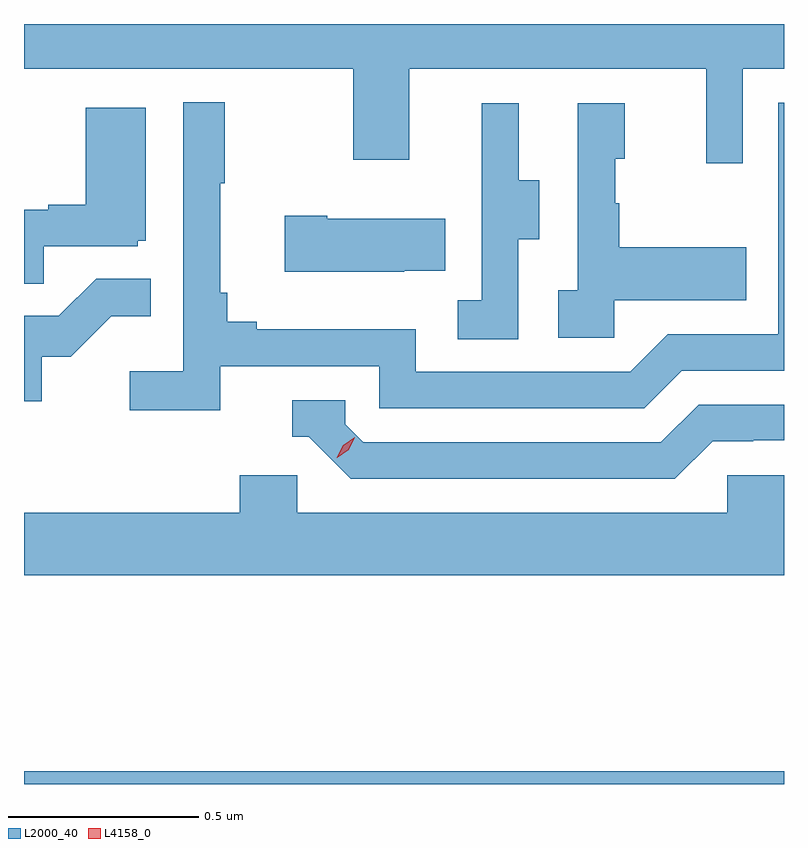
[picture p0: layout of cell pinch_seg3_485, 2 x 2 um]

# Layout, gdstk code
import gdstk
lib = gdstk.Library(unit=1e-6, precision=1e-09)
def R(c, l, rs):  # rectangles x0, y0, x1, y1
    for r in rs: c.add(gdstk.rectangle(r[:2], r[2:], *l))
def P(c, l, *ps):  # polygons
    for p in ps: c.add(gdstk.Polygon(p, *l))
L2000_40 = (2000, 40)
L4158_0 = (4158, 0)

pinch_seg3_485 = lib.new_cell('pinch_seg3_485')
R(pinch_seg3_485, L2000_40, [(936.187,671.062,938.187,671.096)])
P(pinch_seg3_485, L2000_40, [(938.079,672.944),(938.187,672.944),(938.187,673.062),(936.187,673.062),(936.187,672.944),(937.054,672.944),(937.054,672.705),(937.201,672.705),(937.201,672.944),(937.982,672.944),(937.982,672.696),(938.079,672.696)],
  [(936.704,672.162),(937.122,672.162),(937.122,672.051),(937.819,672.051),(937.918,672.15),(938.187,672.15),(938.187,672.855),(938.172,672.855),(938.172,672.246),(937.881,672.246),(937.782,672.147),(937.218,672.147),(937.218,672.259),(936.799,672.259),(936.799,672.278),(936.722,672.278),(936.722,672.355),(936.703,672.355),(936.703,672.643),(936.715,672.643),(936.715,672.856),(936.606,672.856),(936.606,672.148),(936.465,672.148),(936.465,672.046),(936.704,672.046)],
  [(937.488,672.496),(937.543,672.496),(937.543,672.651),(937.489,672.651),(937.489,672.853),(937.391,672.853),(937.391,672.639),(937.392,672.639),(937.392,672.335),(937.329,672.335),(937.329,672.232),(937.488,672.232)],
  [(937.74,672.335),(938.087,672.335),(938.087,672.475),(937.753,672.475),(937.753,672.59),(937.743,672.59),(937.743,672.708),(937.768,672.708),(937.768,672.853),(937.644,672.853),(937.644,672.362),(937.593,672.362),(937.593,672.237),(937.74,672.237)],
  [(936.239,672.477),(936.486,672.477),(936.486,672.492),(936.508,672.492),(936.508,672.841),(936.35,672.841),(936.35,672.586),(936.251,672.586),(936.251,672.573),(936.187,672.573),(936.187,672.379),(936.239,672.379)],
  [(937.187,672.413),(937.295,672.413),(937.295,672.55),(936.985,672.55),(936.985,672.558),(936.873,672.558),(936.873,672.41),(937.187,672.41)],
  [(936.234,672.186),(936.31,672.186),(936.417,672.293),(936.521,672.293),(936.521,672.392),(936.377,672.392),(936.279,672.294),(936.187,672.294),(936.187,672.069),(936.234,672.069)],
  [(937.999,671.964),(938.106,671.964),(938.106,671.967),(938.187,671.967),(938.187,672.06),(937.962,672.06),(937.863,671.961),(937.08,671.961),(937.032,672.009),(937.032,672.072),(936.893,672.072),(936.893,671.976),(936.936,671.976),(937.047,671.865),(937.9,671.865)],
  [(938.187,671.874),(938.037,671.874),(938.037,671.776),(936.906,671.776),(936.906,671.874),(936.755,671.874),(936.755,671.776),(936.187,671.776),(936.187,671.612),(938.187,671.612)])
P(pinch_seg3_485, L4158_0, [(937.01,671.921),(937.01,671.921),(937.027,671.954),(937.058,671.974),(937.058,671.974),(937.058,671.973),(937.042,671.941),(937.011,671.921)])

lib.write_gds('pinch_seg3_485.gds')
